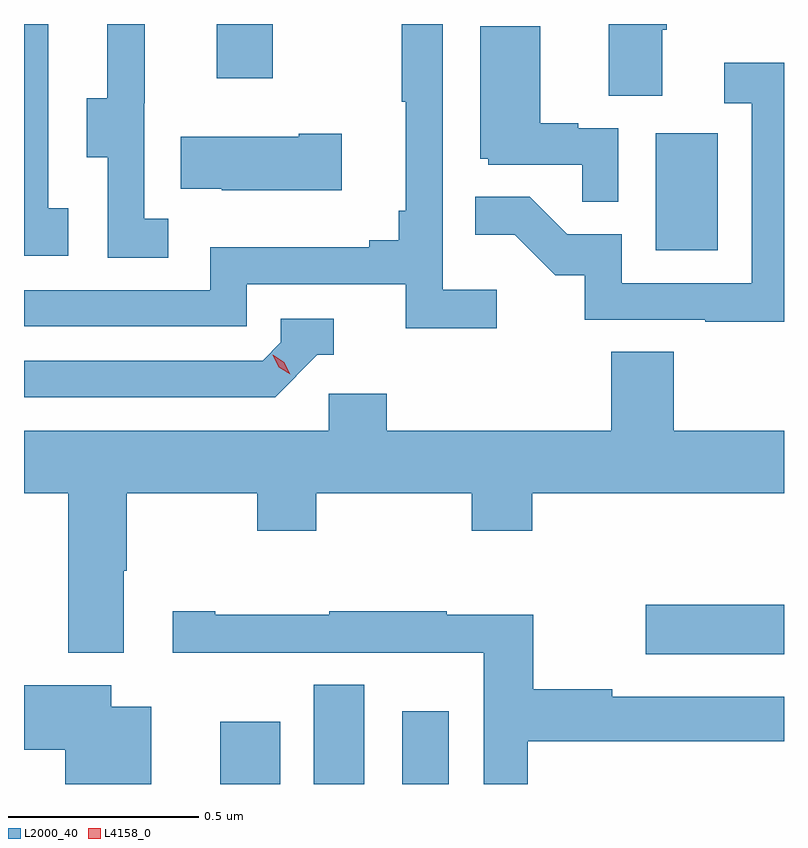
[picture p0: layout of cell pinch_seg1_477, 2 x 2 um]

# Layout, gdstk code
import gdstk
lib = gdstk.Library(unit=1e-6, precision=1e-09)
def R(c, l, rs):  # rectangles x0, y0, x1, y1
    for r in rs: c.add(gdstk.rectangle(r[:2], r[2:], *l))
def P(c, l, *ps):  # polygons
    for p in ps: c.add(gdstk.Polygon(p, *l))
L2000_40 = (2000, 40)
L4158_0 = (4158, 0)

pinch_seg1_477 = lib.new_cell('pinch_seg1_477')
R(pinch_seg1_477, L2000_40, [(969.188,521.663,969.346,521.827), (969.434,521.663,969.568,521.924), (969.668,521.663,969.79,521.854), (970.308,522.005,970.672,522.135), (970.334,523.068,970.498,523.375), (969.179,523.52,969.327,523.663)])
P(pinch_seg1_477, L2000_40, [(970.351,523.648),(970.364,523.648),(970.364,523.663),(970.211,523.663),(970.211,523.474),(970.351,523.474)],
  [(969.052,523.151),(968.988,523.151),(968.988,523.455),(968.99,523.455),(968.99,523.663),(968.891,523.663),(968.891,523.467),(968.837,523.467),(968.837,523.312),(968.892,523.312),(968.892,523.048),(969.052,523.048)],
  [(968.788,523.178),(968.736,523.178),(968.736,523.663),(968.672,523.663),(968.672,523.053),(968.788,523.053)],
  [(969.916,522.964),(969.774,522.964),(969.774,523.663),(969.666,523.663),(969.666,523.459),(969.677,523.459),(969.677,523.171),(969.658,523.171),(969.658,523.094),(969.581,523.094),(969.581,523.075),(969.162,523.075),(969.162,522.963),(968.672,522.963),(968.672,522.867),(969.258,522.867),(969.258,522.978),(969.677,522.978),(969.677,522.862),(969.916,522.862)],
  [(970.236,523.389),(970.13,523.389),(970.13,523.402),(970.03,523.402),(970.03,523.657),(969.872,523.657),(969.872,523.308),(969.894,523.308),(969.894,523.293),(970.141,523.293),(970.141,523.195),(970.236,523.195)],
  [(970.672,523.561),(970.515,523.561),(970.515,523.455),(970.587,523.455),(970.587,522.981),(970.245,522.981),(970.245,523.11),(970.101,523.11),(970.003,523.208),(969.859,523.208),(969.859,523.109),(969.963,523.109),(970.07,523.002),(970.147,523.002),(970.147,522.885),(970.465,522.885),(970.465,522.88),(970.672,522.88)],
  [(969.508,523.374),(969.395,523.374),(969.395,523.366),(969.085,523.366),(969.085,523.229),(969.193,523.229),(969.193,523.226),(969.508,523.226)],
  [(969.444,522.792),(969.487,522.792),(969.487,522.888),(969.348,522.888),(969.348,522.825),(969.3,522.777),(968.672,522.777),(968.672,522.681),(969.333,522.681)],
  [(968.935,522.224),(968.943,522.224),(968.943,522.428),(969.286,522.428),(969.286,522.329),(969.441,522.329),(969.441,522.428),(969.85,522.428),(969.85,522.329),(970.01,522.329),(970.01,522.428),(970.672,522.428),(970.672,522.592),(970.382,522.592),(970.382,522.8),(970.217,522.8),(970.217,522.592),(969.626,522.592),(969.626,522.69),(969.474,522.69),(969.474,522.592),(968.672,522.592),(968.672,522.428),(968.788,522.428),(968.788,522.008),(968.935,522.008)],
  [(969.998,521.776),(970.672,521.776),(970.672,521.892),(970.22,521.892),(970.22,521.912),(970.012,521.912),(970.012,522.108),(969.785,522.108),(969.785,522.118),(969.475,522.118),(969.475,522.108),(969.175,522.108),(969.175,522.118),(969.063,522.118),(969.063,522.008),(969.338,522.008),(969.338,522.009),(969.672,522.009),(969.672,522.008),(969.882,522.008),(969.882,521.663),(969.998,521.663)],
  [(969.007,521.866),(968.902,521.866),(968.902,521.923),(968.672,521.923),(968.672,521.753),(968.78,521.753),(968.78,521.663),(969.007,521.663)])
P(pinch_seg1_477, L4158_0, [(969.372,522.741),(969.342,522.76),(969.326,522.792),(969.326,522.792),(969.326,522.792),(969.357,522.773),(969.373,522.741),(969.373,522.741)])

lib.write_gds('pinch_seg1_477.gds')
